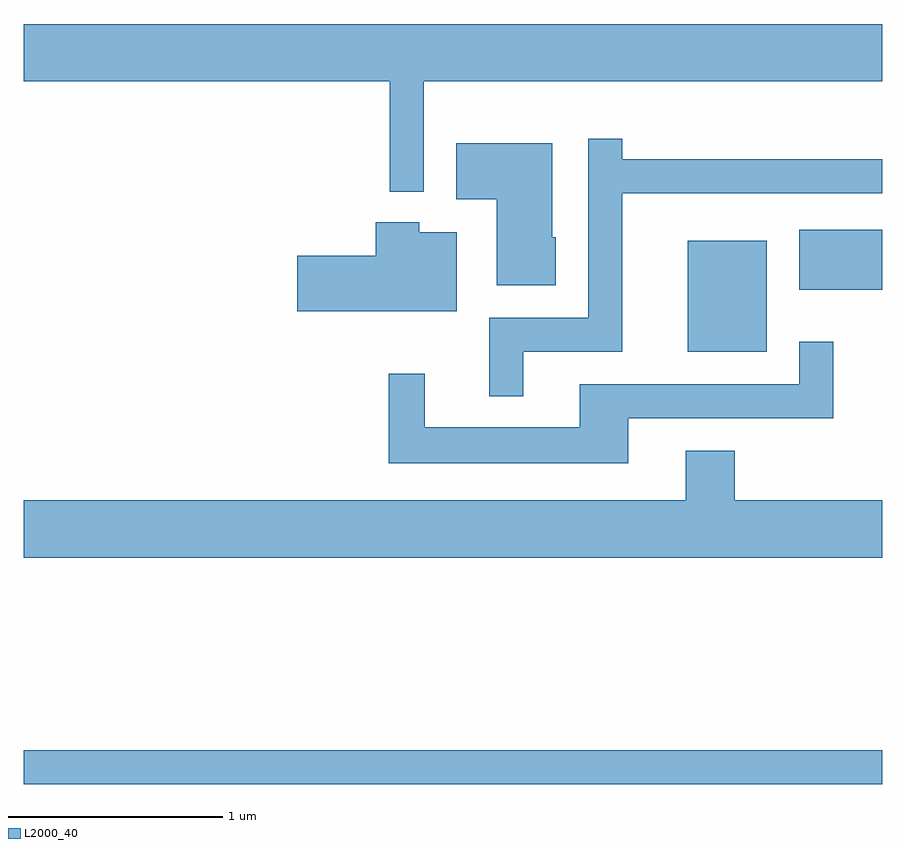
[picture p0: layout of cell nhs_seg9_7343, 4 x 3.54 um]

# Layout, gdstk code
import gdstk
lib = gdstk.Library(unit=1e-6, precision=1e-09)
def R(c, l, rs):  # rectangles x0, y0, x1, y1
    for r in rs: c.add(gdstk.rectangle(r[:2], r[2:], *l))
def P(c, l, *ps):  # polygons
    for p in ps: c.add(gdstk.Polygon(p, *l))
L2000_40 = (2000, 40)

nhs_seg9_7343 = lib.new_cell('nhs_seg9_7343')
R(nhs_seg9_7343, L2000_40, [(401.611,2068.461,405.611,2068.619), (404.706,2070.476,405.074,2070.994), (405.226,2070.766,405.611,2071.044)])
P(nhs_seg9_7343, L2000_40, [(403.474,2071.736),(405.611,2071.736),(405.611,2072.004),(401.611,2072.004),(401.611,2071.736),(403.316,2071.736),(403.316,2071.222),(403.474,2071.222)],
  [(403.939,2070.476),(404.399,2070.476),(404.399,2071.216),(405.611,2071.216),(405.611,2071.374),(404.399,2071.374),(404.399,2071.468),(404.241,2071.468),(404.241,2070.634),(403.781,2070.634),(403.781,2070.268),(403.939,2070.268)],
  [(404.089,2071.01),(404.074,2071.01),(404.074,2071.449),(403.626,2071.449),(403.626,2071.186),(403.816,2071.186),(403.816,2070.786),(404.089,2070.786)],
  [(403.629,2071.034),(403.454,2071.034),(403.454,2071.079),(403.251,2071.079),(403.251,2070.924),(402.886,2070.924),(402.886,2070.666),(403.629,2070.666)],
  [(404.429,2070.166),(405.384,2070.166),(405.384,2070.523),(405.226,2070.523),(405.226,2070.324),(404.201,2070.324),(404.201,2070.124),(403.479,2070.124),(403.479,2070.373),(403.311,2070.373),(403.311,2069.956),(404.429,2069.956)],
  [(405.611,2069.784),(404.924,2069.784),(404.924,2070.014),(404.696,2070.014),(404.696,2069.784),(401.611,2069.784),(401.611,2069.516),(405.611,2069.516)])

lib.write_gds('nhs_seg9_7343.gds')
